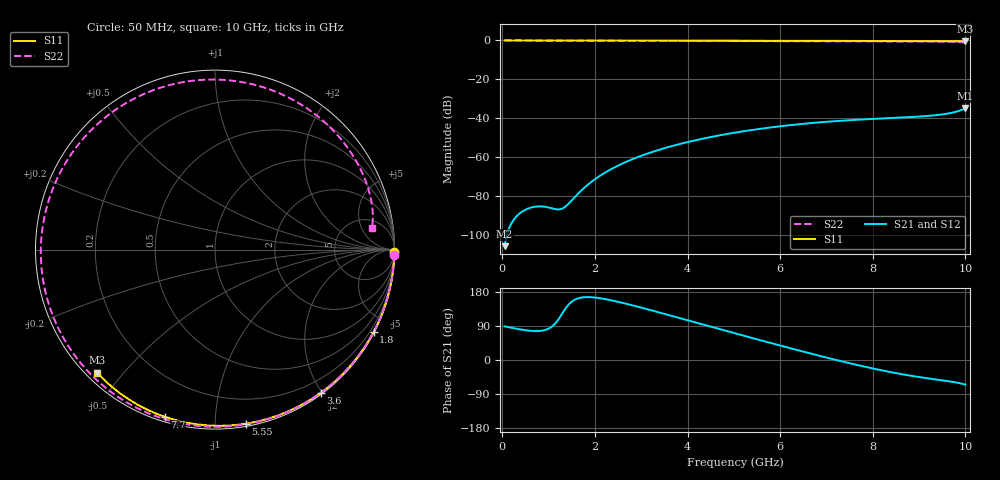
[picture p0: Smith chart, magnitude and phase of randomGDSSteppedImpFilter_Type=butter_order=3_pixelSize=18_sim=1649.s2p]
! freq	dB(S11)	phase(S11)	dB(S12)	phase(S12)
!  dB(S21)	phase(S21)	dB(S22)	phase(S22)
!S-par simulation data
#  GHz  S  DB  R 50
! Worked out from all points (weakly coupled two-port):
!   200 points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, 50 MHz to 10 GHz, reference 50 ohm
!   highest |S21| = -34.79 dB at 10 GHz (marker M1); lowest = -105.6 dB at 50 MHz (marker M2)
!   lowest |S11| = -0.5 dB at 10 GHz (marker M3), VSWR 38.35, Z = 1.54 - j21.4 ohm
!   |S11| at or under -10 dB: nowhere
!   |S22| runs from -1.1 to 0.0 dB; largest |S21 - S12| = 0
!   S11 on the Smith chart (normalised r, x): 50 MHz: open; 1.8 GHz: 0.04, -4.10; 3.6 GHz: 0.02, -1.98; 5.55 GHz: 0.02, -1.19; 7.7 GHz: 0.02, -0.74; 10 GHz: 0.03, -0.43
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0.05  -0.00 -0.8  -105.60 88.8  -105.60 88.8  -0.00 -1.9
0.75  -0.02 -11.5  -85.23 76.3  -85.23 76.3  -0.04 -27.5
1.55  -0.03 -23.7  -80.78 158.1  -80.78 158.1  -0.07 -56.0
1.75  -0.03 -26.7  -76.02 165.5  -76.02 165.5  -0.08 -62.9
1.8  -0.03 -27.4  -74.97 165.9  -74.97 165.9  -0.08 -64.6
2.1  -0.04 -31.9  -69.60 163.3  -69.60 163.3  -0.09 -74.7
2.45  -0.05 -37.0  -64.83 154.9  -64.83 154.9  -0.11 -86.2
2.9  -0.06 -43.6  -60.11 141.4  -60.11 141.4  -0.12 -100.6
3.4  -0.07 -50.8  -56.02 125.1  -56.02 125.1  -0.14 -116.2
3.6  -0.07 -53.6  -54.63 118.4  -54.63 118.4  -0.15 -122.4
4.35  -0.09 -64.0  -50.31 93.1  -50.31 93.1  -0.19 -145.0
5.05  -0.11 -73.4  -47.22 69.6  -47.22 69.6  -0.23 -166.1
5.55  -0.13 -80.0  -45.42 52.9  -45.42 52.9  -0.26 178.6
6.15  -0.16 -87.7  -43.65 33.3  -43.65 33.3  -0.31 159.6
6.7  -0.18 -94.6  -42.34 15.7  -42.34 15.7  -0.35 141.3
7.25  -0.21 -101.3  -41.31 -1.2  -41.31 -1.2  -0.40 121.9
7.7  -0.24 -106.8  -40.65 -14.2  -40.65 -14.2  -0.44 105.2
8.35  -0.29 -114.5  -39.88 -31.1  -39.88 -31.1  -0.49 79.5
8.8  -0.33 -119.8  -39.35 -41.1  -39.35 -41.1  -0.53 60.8
9.3  -0.38 -125.6  -38.51 -50.3  -38.51 -50.3  -0.61 39.4
9.7  -0.42 -130.2  -37.16 -57.2  -37.16 -57.2  -0.73 21.7
10  -0.45 -133.7  -34.79 -65.3  -34.79 -65.3  -1.09 7.7
